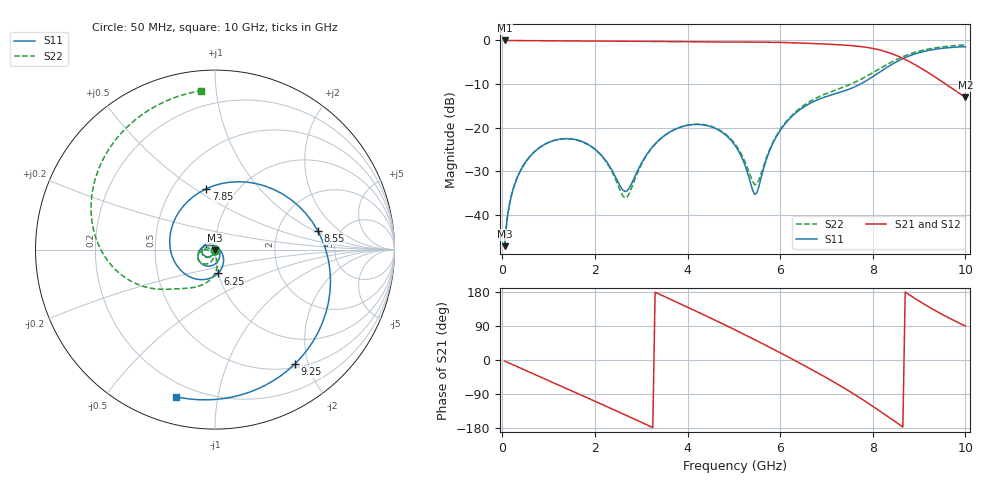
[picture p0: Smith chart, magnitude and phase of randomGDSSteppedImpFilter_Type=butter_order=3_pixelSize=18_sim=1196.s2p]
! freq	dB(S11)	phase(S11)	dB(S12)	phase(S12)
!  dB(S21)	phase(S21)	dB(S22)	phase(S22)
!S-par simulation data
#  GHz  S  DB  R 50
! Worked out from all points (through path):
!   200 points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, 50 MHz to 10 GHz, reference 50 ohm
!   highest |S21| = 0.00 dB at 50 MHz (marker M1); lowest = -13.1 dB at 10 GHz (marker M2)
!   group delay of S21, straight-line fit = 175 ps
!   lowest |S11| = -47.2 dB at 50 MHz (marker M3), VSWR 1.01, Z = 50 - j0.434 ohm
!   |S11| at or under -10 dB: start of sweep to 7.735 GHz
!   |S22| runs from -47.1 to -1.0 dB; largest |S21 - S12| = 0
!   S11 on the Smith chart (normalised r, x): 50 MHz: 1.00, -0.01; 6.25 GHz: 1.00, -0.27; 7.85 GHz: 0.73, +0.56; 8.55 GHz: 3.42, +1.08; 9.25 GHz: 0.56, -1.79; 10 GHz: 0.13, -0.76
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0.05  -47.24 -92.3  -0.00 -2.8  -0.00 -2.8  -47.08 -90.8
0.1  -41.30 -94.9  -0.01 -5.5  -0.01 -5.5  -41.28 -93.5
0.2  -35.46 -100.8  -0.02 -11.0  -0.02 -11.0  -35.46 -99.5
0.55  -27.25 -122.1  -0.05 -30.0  -0.05 -30.0  -27.24 -118.8
1.2  -22.75 -160.7  -0.10 -65.2  -0.10 -65.2  -22.75 -152.0
1.75  -23.34 164.6  -0.13 -95.1  -0.13 -95.1  -23.37 -177.9
2.2  -27.11 129.1  -0.15 -119.7  -0.15 -119.7  -27.26 167.0
2.65  -34.70 39.5  -0.17 -144.6  -0.17 -144.6  -36.17 -150.7
3.4  -22.72 -82.8  -0.25 173.3  -0.25 173.3  -22.77 -108.7
4.3  -19.34 -144.4  -0.35 122.1  -0.35 122.1  -19.26 -149.1
5.05  -24.49 159.2  -0.36 78.1  -0.36 78.1  -24.13 -178.0
5.45  -35.37 65.2  -0.37 53.8  -0.37 53.8  -33.11 -137.4
5.85  -23.46 -45.4  -0.42 28.7  -0.42 28.7  -23.24 -79.8
6.25  -17.48 -83.2  -0.52 3.1  -0.52 3.1  -17.23 -91.2
6.7  -14.14 -123.8  -0.70 -26.6  -0.70 -26.6  -13.68 -109.3
7.3  -11.88 171.8  -1.01 -68.1  -1.01 -68.1  -10.97 -129.9
7.85  -9.31 98.3  -1.56 -110.0  -1.56 -110.0  -8.32 -144.9
8.35  -5.90 33.2  -2.81 -151.5  -2.81 -151.5  -5.27 -165.6
8.55  -4.69 10.3  -3.63 -168.3  -3.63 -168.3  -4.19 -176.7
8.9  -3.13 -25.1  -5.49 163.3  -5.49 163.3  -2.76 161.7
9.25  -2.19 -54.9  -7.75 137.2  -7.75 137.2  -1.88 139.6
10  -1.43 -104.9  -13.07 89.6  -13.07 89.6  -1.03 94.9
